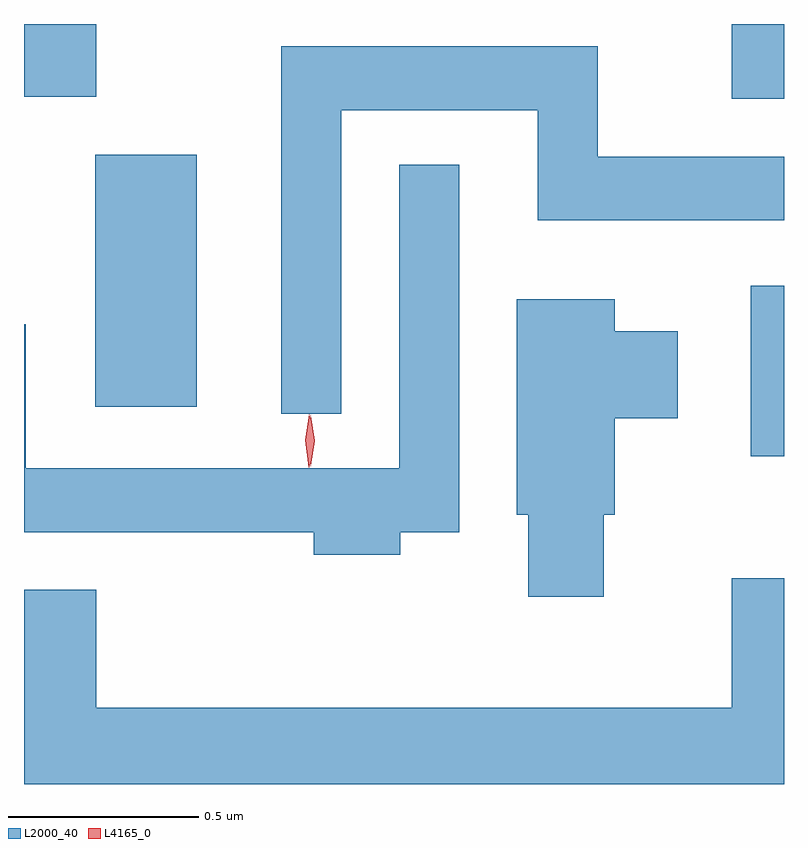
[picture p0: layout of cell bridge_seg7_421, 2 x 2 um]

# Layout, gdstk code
import gdstk
lib = gdstk.Library(unit=1e-6, precision=1e-09)
def R(c, l, rs):  # rectangles x0, y0, x1, y1
    for r in rs: c.add(gdstk.rectangle(r[:2], r[2:], *l))
def P(c, l, *ps):  # polygons
    for p in ps: c.add(gdstk.Polygon(p, *l))
L2000_40 = (2000, 40)
L4165_0 = (4165, 0)

bridge_seg7_421 = lib.new_cell('bridge_seg7_421')
R(bridge_seg7_421, L2000_40, [(1138.661,1677.506,1138.749,1677.954), (1136.936,1677.636,1137.204,1678.299), (1138.611,1678.446,1138.749,1678.643), (1136.749,1678.451,1136.939,1678.643)])
P(bridge_seg7_421, L2000_40, [(1137.584,1678.416),(1138.101,1678.416),(1138.101,1678.126),(1138.749,1678.126),(1138.749,1678.294),(1138.259,1678.294),(1138.259,1678.584),(1137.426,1678.584),(1137.426,1677.618),(1137.584,1677.618)],
  [(1137.739,1677.306),(1137.894,1677.306),(1137.894,1678.273),(1137.736,1678.273),(1137.736,1677.474),(1136.754,1677.474),(1136.754,1677.853),(1136.749,1677.853),(1136.749,1677.306),(1137.511,1677.306),(1137.511,1677.246),(1137.739,1677.246)],
  [(1138.274,1677.351),(1138.304,1677.351),(1138.304,1677.606),(1138.469,1677.606),(1138.469,1677.834),(1138.304,1677.834),(1138.304,1677.919),(1138.046,1677.919),(1138.046,1677.351),(1138.076,1677.351),(1138.076,1677.136),(1138.274,1677.136)],
  [(1138.749,1677.184),(1138.611,1677.184),(1138.611,1676.844),(1136.939,1676.844),(1136.939,1677.154),(1136.749,1677.154),(1136.749,1676.643),(1138.749,1676.643)])
P(bridge_seg7_421, L4165_0, [(1137.498,1677.477),(1137.489,1677.547),(1137.499,1677.616),(1137.5,1677.616),(1137.5,1677.616),(1137.509,1677.547),(1137.499,1677.477),(1137.499,1677.477)],
  [(1137.504,1677.479),(1137.503,1677.48),(1137.494,1677.546),(1137.503,1677.612),(1137.504,1677.613),(1137.504,1677.612),(1137.514,1677.546),(1137.504,1677.48)])

lib.write_gds('bridge_seg7_421.gds')
